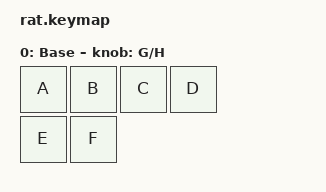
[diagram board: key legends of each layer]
#include <behaviors.dtsi>
#include <dt-bindings/zmk/keys.h>
#include <dt-bindings/zmk/bt.h>
#include <dt-bindings/zmk/mouse.h>
#include <dt-bindings/zmk/outputs.h>

/ {

  keymap {
    compatible = "zmk,keymap";

        Base {
            label = "Base";
            bindings = <
    &kp A       &kp B   &kp C   &kp D
    &kp E       &kp F
            >;
            trackball-bindings = <&tmv>;
            sensor-bindings = <&inc_dec_kp G H>;
        };
    };
};
